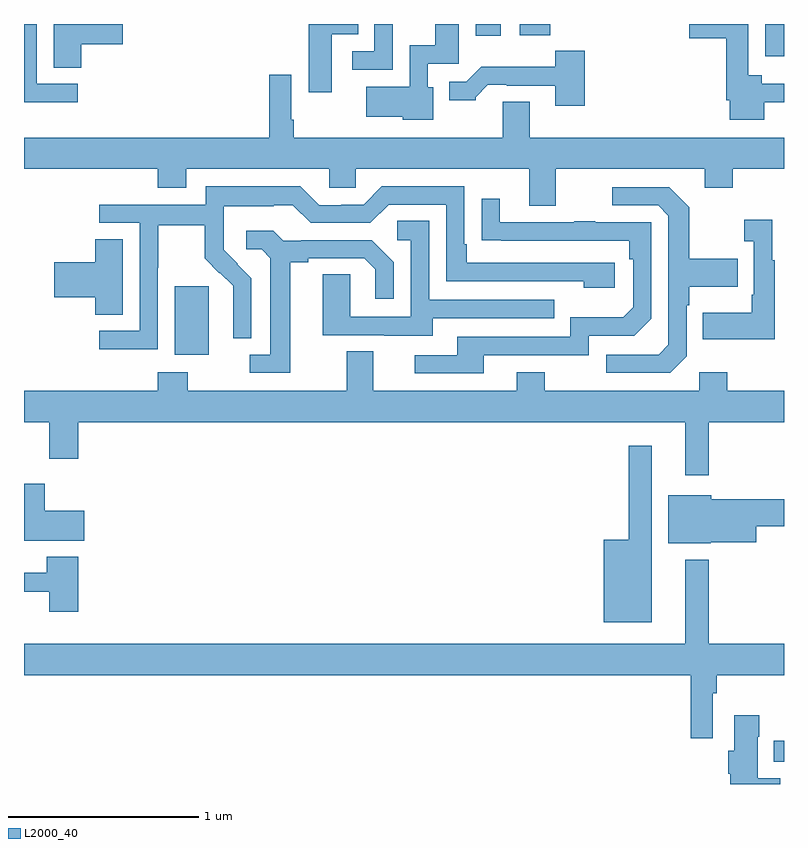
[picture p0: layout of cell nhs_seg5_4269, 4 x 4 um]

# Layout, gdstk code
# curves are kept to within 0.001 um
import gdstk
lib = gdstk.Library(unit=1e-6, precision=1e-09)
def R(c, l, rs):  # rectangles x0, y0, x1, y1
    for r in rs: c.add(gdstk.rectangle(r[:2], r[2:], *l))
def P(c, l, *ps):  # polygons
    for p in ps: c.add(gdstk.Polygon(p, *l))
L2000_40 = (2000, 40)

nhs_seg5_4269 = lib.new_cell('nhs_seg5_4269')
R(nhs_seg5_4269, L2000_40, [(364.947,910.917,365,911.026), (361.793,913.058,361.972,913.419), (364.901,914.628,365,914.799), (363.377,914.736,363.508,914.799), (363.608,914.741,363.77,914.799)])
P(nhs_seg5_4269, L2000_40, [(364.897,914.388),(365,914.388),(365,914.484),(364.882,914.484),(364.882,914.53),(364.812,914.53),(364.812,914.799),(364.502,914.799),(364.502,914.723),(364.696,914.723),(364.696,914.398),(364.715,914.398),(364.715,914.294),(364.897,914.294)],
  [(362.94,914.799),(362.844,914.799),(362.844,914.655),(362.727,914.655),(362.727,914.559),(362.94,914.559)],
  [(361.282,914.484),(361.068,914.484),(361.068,914.799),(361,914.799),(361,914.388),(361.282,914.388)],
  [(361.301,914.693),(361.519,914.693),(361.519,914.799),(361.157,914.799),(361.157,914.569),(361.301,914.569)],
  [(363.154,914.466),(363.126,914.466),(363.126,914.589),(363.289,914.589),(363.289,914.799),(363.164,914.799),(363.164,914.686),(363.03,914.686),(363.03,914.47),(362.802,914.47),(362.802,914.312),(362.994,914.312),(362.994,914.294),(363.154,914.294)],
  [(362.62,914.744),(362.759,914.744),(362.759,914.799),(362.498,914.799),(362.498,914.439),(362.62,914.439)],
  [(363.95,914.659),(363.795,914.659),(363.795,914.575),(363.406,914.575),(363.327,914.496),(363.239,914.496),(363.239,914.399),(363.378,914.399),(363.378,914.414),(363.442,914.478),(363.541,914.478),(363.541,914.475),(363.797,914.475),(363.797,914.37),(363.95,914.37)],
  [(363.799,914.036),(364.583,914.036),(364.583,913.937),(364.731,913.937),(364.731,914.036),(365,914.036),(365,914.2),(363.661,914.2),(363.661,914.39),(363.521,914.39),(363.521,914.2),(362.419,914.2),(362.419,914.296),(362.406,914.296),(362.406,914.533),(362.29,914.533),(362.29,914.2),(361,914.2),(361,914.036),(361.703,914.036),(361.703,913.937),(361.855,913.937),(361.855,914.036),(362.607,914.036),(362.607,913.938),(362.745,913.938),(362.745,914.036),(363.659,914.036),(363.659,913.842),(363.799,913.842)],
  [(361.704,913.516),(361.707,913.516),(361.707,913.74),(361.951,913.74),(361.951,913.565),(362.028,913.488),(362.031,913.491),(362.102,913.421),(362.102,913.298),(362.1,913.298),(362.1,913.144),(362.196,913.144),(362.196,913.462),(362.05,913.61),(362.05,913.707),(362.052,913.707),(362.052,913.841),(362.315,913.841),(362.315,913.845),(362.415,913.845),(362.508,913.752),(362.823,913.752),(362.919,913.848),(363.222,913.848),(363.222,913.446),(363.947,913.446),(363.947,913.412),(364.108,913.412),(364.108,913.542),(363.331,913.542),(363.331,913.639),(363.318,913.639),(363.318,913.944),(362.883,913.944),(362.787,913.848),(362.669,913.848),(362.669,913.845),(362.553,913.845),(362.453,913.945),(361.956,913.945),(361.956,913.848),(361.395,913.848),(361.395,913.752),(361.608,913.752),(361.608,913.185),(361.395,913.185),(361.395,913.087),(361.704,913.087)],
  [(364.488,913.05),(364.488,913.319),(364.501,913.319),(364.501,913.415),(364.757,913.415),(364.757,913.563),(364.501,913.563),(364.501,913.835),(364.395,913.941),(364.095,913.941),(364.095,913.845),(364.338,913.845),(364.392,913.791),(364.392,913.11),(364.341,913.059),(364.065,913.059),(364.065,912.963),(364.401,912.963)],
  [(363.421,913.056),(363.972,913.056),(363.972,913.158),(364.212,913.158),(364.302,913.248),(364.302,913.755),(364.007,913.755),(364.007,913.76),(363.895,913.76),(363.895,913.755),(363.505,913.755),(363.505,913.879),(363.409,913.879),(363.409,913.66),(364.186,913.659),(364.186,913.562),(364.206,913.562),(364.206,913.308),(364.153,913.255),(363.876,913.255),(363.876,913.152),(363.281,913.152),(363.281,913.056),(363.057,913.056),(363.057,912.96),(363.421,912.96)],
  [(364.951,913.555),(364.939,913.555),(364.939,913.768),(364.791,913.768),(364.791,913.655),(364.842,913.655),(364.842,913.375),(364.83,913.375),(364.83,913.279),(364.573,913.279),(364.573,913.139),(364.951,913.139)],
  [(363.151,913.251),(363.791,913.251),(363.791,913.347),(363.132,913.347),(363.132,913.763),(362.964,913.763),(362.964,913.662),(363.036,913.662),(363.036,913.257),(362.718,913.257),(362.718,913.481),(362.573,913.481),(362.573,913.161),(362.897,913.161),(362.897,913.157),(363.151,913.157)],
  [(362.401,913.544),(362.497,913.544),(362.497,913.566),(362.792,913.566),(362.849,913.509),(362.849,913.353),(362.946,913.353),(362.946,913.546),(362.83,913.662),(362.458,913.662),(362.458,913.659),(362.364,913.659),(362.312,913.711),(362.169,913.711),(362.169,913.614),(362.25,913.614),(362.297,913.567),(362.297,913.059),(362.187,913.059),(362.187,912.963),(362.401,912.963)],
  [(361.519,913.667),(361.376,913.667),(361.376,913.544),(361.158,913.544),(361.158,913.361),(361.376,913.361),(361.376,913.27),(361.519,913.27)],
  [(364.603,912.704),(365,912.704),(365,912.868),(364.701,912.868),(364.701,912.967),(364.554,912.967),(364.554,912.868),(363.741,912.868),(363.741,912.967),(363.593,912.967),(363.593,912.868),(362.839,912.868),(362.839,913.076),(362.699,913.076),(362.699,912.868),(361.863,912.868),(361.863,912.967),(361.703,912.967),(361.703,912.868),(361,912.868),(361,912.704),(361.133,912.704),(361.133,912.51),(361.286,912.51),(361.286,912.704),(364.481,912.704),(364.481,912.423),(364.603,912.423)],
  [(364.303,912.58),(364.182,912.58),(364.182,912.085),(364.052,912.085),(364.052,911.651),(364.303,911.651)],
  [(361.318,912.238),(361.108,912.238),(361.108,912.379),(361,912.379),(361,912.08),(361.318,912.08)],
  [(364.614,912.071),(364.855,912.071),(364.855,912.155),(365,912.155),(365,912.297),(364.618,912.297),(364.618,912.319),(364.391,912.319),(364.391,912.065),(364.614,912.065)],
  [(361.286,911.995),(361.121,911.995),(361.121,911.911),(361,911.911),(361,911.811),(361.133,911.811),(361.133,911.706),(361.286,911.706)],
  [(364.481,911.98),(364.481,911.536),(361,911.536),(361,911.372),(364.51,911.372),(364.51,911.04),(364.626,911.04),(364.626,911.276),(364.646,911.276),(364.646,911.372),(365,911.372),(365,911.536),(364.603,911.536),(364.603,911.98)],
  [(364.979,910.828),(364.861,910.828),(364.861,911.048),(364.869,911.048),(364.869,911.161),(364.739,911.161),(364.739,910.974),(364.706,910.974),(364.706,910.852),(364.718,910.852),(364.718,910.799),(364.979,910.799)])

lib.write_gds('nhs_seg5_4269.gds')
